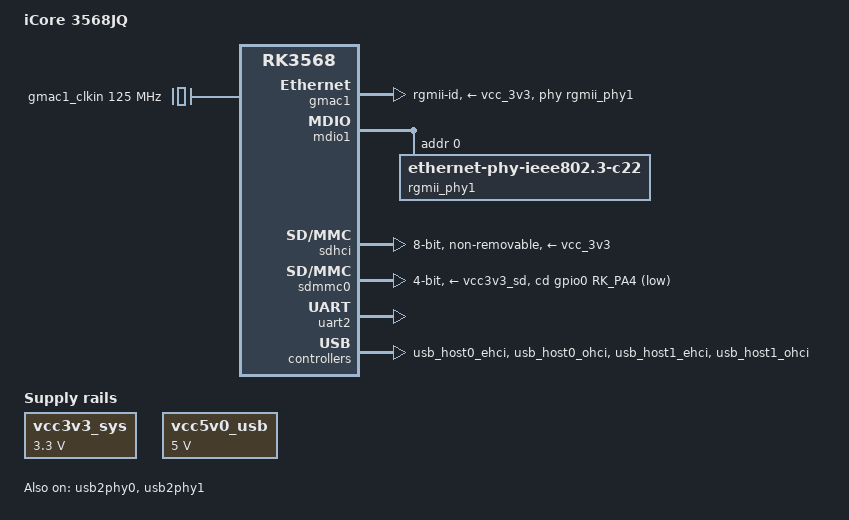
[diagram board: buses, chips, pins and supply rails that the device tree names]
// SPDX-License-Identifier: (GPL-2.0+ OR MIT)
/*
 * DTS for iCore 3568JQ (based on Radxa ROCK 3A)
 */

/dts-v1/;
#include <dt-bindings/gpio/gpio.h>
#include <dt-bindings/pinctrl/rockchip.h>
#include "rk3568.dtsi"

/ {
    model = "iCore 3568JQ";
    compatible = "icore,3568jq", "rockchip,rk3568";

    aliases {
        ethernet0 = &gmac1;
        mmc0 = &sdhci;
        mmc1 = &sdmmc0;
    };

    chosen {
        stdout-path = "serial2:1500000n8";
    };

    gmac1_clkin: external-gmac1-clock {
        compatible = "fixed-clock";
        clock-frequency = <125000000>;
        clock-output-names = "gmac1_clkin";
        #clock-cells = <0>;
    };

    vcc3v3_sys: regulator-vcc3v3-sys {
        compatible = "regulator-fixed";
        regulator-name = "vcc3v3_sys";
        regulator-always-on;
        regulator-boot-on;
        regulator-min-microvolt = <3300000>;
        regulator-max-microvolt = <3300000>;
    };

    vcc5v0_usb: regulator-vcc5v0-usb {
        compatible = "regulator-fixed";
        regulator-name = "vcc5v0_usb";
        regulator-always-on;
        regulator-boot-on;
        regulator-min-microvolt = <5000000>;
        regulator-max-microvolt = <5000000>;
    };
};

&gmac1 {
    assigned-clocks = <&cru SCLK_GMAC1_RX_TX>, <&cru SCLK_GMAC1>;
    assigned-clock-parents = <&cru SCLK_GMAC1_RGMII_SPEED>, <&gmac1_clkin>;
    clock_in_out = "input";
    phy-mode = "rgmii-id";
    phy-handle = <&rgmii_phy1>;
    phy-supply = <&vcc_3v3>;
    pinctrl-names = "default";
    pinctrl-0 = <&gmac1m1_miim
                 &gmac1m1_tx_bus2
                 &gmac1m1_rx_bus2
                 &gmac1m1_rgmii_clk
                 &gmac1m1_clkinout
                 &gmac1m1_rgmii_bus>;
    status = "okay";
};

&mdio1 {
    rgmii_phy1: ethernet-phy@0 {
        compatible = "ethernet-phy-ieee802.3-c22";
        reg = <0x0>;
    };
};

&sdhci {
    bus-width = <8>;
    non-removable;
    vmmc-supply = <&vcc_3v3>;
    vqmmc-supply = <&vcc_1v8>;
    status = "okay";
};

&sdmmc0 {
    bus-width = <4>;
    cap-sd-highspeed;
    cd-gpios = <&gpio0 RK_PA4 GPIO_ACTIVE_LOW>;
    disable-wp;
    vmmc-supply = <&vcc3v3_sd>;
    vqmmc-supply = <&vccio_sd>;
    status = "okay";
};

&uart2 {
    status = "okay";
};

&usb_host0_ehci { status = "okay"; };
&usb_host0_ohci { status = "okay"; };
&usb_host1_ehci { status = "okay"; };
&usb_host1_ohci { status = "okay"; };

&usb2phy0 { status = "okay"; };
&usb2phy1 { status = "okay"; };
